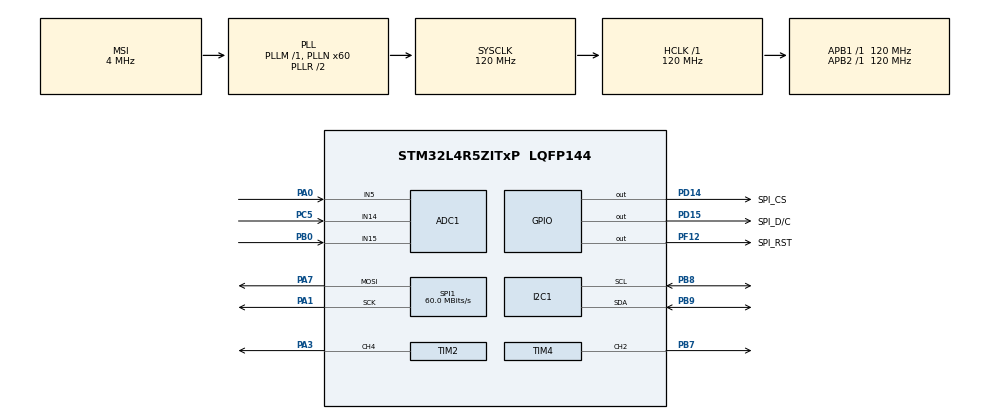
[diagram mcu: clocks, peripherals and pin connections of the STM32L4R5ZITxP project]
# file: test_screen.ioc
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ADC1.Channel-3\#ChannelRegularConversion=ADC_CHANNEL_5
ADC1.Channel-4\#ChannelRegularConversion=ADC_CHANNEL_14
ADC1.Channel-5\#ChannelRegularConversion=ADC_CHANNEL_14
ADC1.ClockPrescaler=ADC_CLOCK_ASYNC_DIV32
ADC1.NbrOfConversion=3
ADC1.NbrOfConversionFlag=1
ADC1.OffsetNumber-3\#ChannelRegularConversion=ADC_OFFSET_NONE
ADC1.OffsetNumber-4\#ChannelRegularConversion=ADC_OFFSET_NONE
ADC1.OffsetNumber-5\#ChannelRegularConversion=ADC_OFFSET_NONE
ADC1.Rank-3\#ChannelRegularConversion=1
ADC1.Rank-4\#ChannelRegularConversion=2
ADC1.Rank-5\#ChannelRegularConversion=3
ADC1.SamplingTime-3\#ChannelRegularConversion=ADC_SAMPLETIME_640CYCLES_5
ADC1.SamplingTime-4\#ChannelRegularConversion=ADC_SAMPLETIME_2CYCLES_5
ADC1.SamplingTime-5\#ChannelRegularConversion=ADC_SAMPLETIME_2CYCLES_5
ADC1.master=1
Dma.ADC1.0.Direction=DMA_PERIPH_TO_MEMORY
Dma.ADC1.0.EventEnable=DISABLE
Dma.ADC1.0.Instance=DMA1_Channel1
Dma.ADC1.0.MemDataAlignment=DMA_MDATAALIGN_WORD
Dma.ADC1.0.MemInc=DMA_MINC_ENABLE
Dma.ADC1.0.Mode=DMA_CIRCULAR
Dma.ADC1.0.PeriphDataAlignment=DMA_PDATAALIGN_HALFWORD
Dma.ADC1.0.PeriphInc=DMA_PINC_DISABLE
Dma.ADC1.0.Polarity=HAL_DMAMUX_REQUEST_GEN_RISING
Dma.ADC1.0.Priority=DMA_PRIORITY_LOW
Dma.ADC1.0.RequestNumber=1
Dma.ADC1.0.SignalID=NONE
Dma.ADC1.0.SyncEnable=DISABLE
Dma.ADC1.0.SyncPolarity=HAL_DMAMUX_SYNC_NO_EVENT
Dma.ADC1.0.SyncRequestNumber=1
Dma.ADC1.0.SyncSignalID=NONE
Dma.Request0=ADC1
Dma.Request1=SPI1_TX
Dma.SPI1_TX.1.Direction=DMA_MEMORY_TO_PERIPH
Dma.SPI1_TX.1.EventEnable=DISABLE
Dma.SPI1_TX.1.Instance=DMA1_Channel2
Dma.SPI1_TX.1.MemDataAlignment=DMA_MDATAALIGN_BYTE
Dma.SPI1_TX.1.MemInc=DMA_MINC_ENABLE
Dma.SPI1_TX.1.Mode=DMA_NORMAL
Dma.SPI1_TX.1.PeriphDataAlignment=DMA_PDATAALIGN_BYTE
Dma.SPI1_TX.1.PeriphInc=DMA_PINC_DISABLE
Dma.SPI1_TX.1.Polarity=HAL_DMAMUX_REQUEST_GEN_RISING
Dma.SPI1_TX.1.Priority=DMA_PRIORITY_LOW
Dma.SPI1_TX.1.RequestNumber=1
Dma.SPI1_TX.1.SignalID=NONE
Dma.SPI1_TX.1.SyncEnable=DISABLE
Dma.SPI1_TX.1.SyncPolarity=HAL_DMAMUX_SYNC_NO_EVENT
Dma.SPI1_TX.1.SyncRequestNumber=1
Dma.SPI1_TX.1.SyncSignalID=NONE
I2C1.Timing=0x307075B1
Mcu.Family=STM32L4
Mcu.Name=STM32L4R5ZITxP
Mcu.Package=LQFP144
NVIC.DMA1_Channel1_IRQn=true\:0\:0\:false\:false\:true\:false\:true\:true
NVIC.DMA1_Channel2_IRQn=true\:0\:0\:false\:false\:true\:false\:true\:true
NVIC.PriorityGroup=NVIC_PRIORITYGROUP_4
PA0.Signal=ADCx_IN5
PA1.Mode=TX_Only_Simplex_Unidirect_Master
PA1.Signal=SPI1_SCK
PA13\ (JTMS/SWDIO).Mode=Serial_Wire
PA13\ (JTMS/SWDIO).Signal=SYS_JTMS-SWDIO
PA14\ (JTCK/SWCLK).Mode=Serial_Wire
PA14\ (JTCK/SWCLK).Signal=SYS_JTCK-SWCLK
PA3.Signal=S_TIM2_CH4
PA7.Mode=TX_Only_Simplex_Unidirect_Master
PA7.Signal=SPI1_MOSI
PB0.Signal=ADCx_IN15
PB7.Signal=S_TIM4_CH2
PB8.Mode=I2C
PB8.Signal=I2C1_SCL
PB9.Mode=I2C
PB9.Signal=I2C1_SDA
PC5.Signal=ADCx_IN14
PD14.GPIO_Label=SPI_CS
PD14.Signal=GPIO_Output
PD15.GPIO_Label=SPI_D/C
PD15.Signal=GPIO_Output
PF12.GPIO_Label=SPI_RST
PF12.Signal=GPIO_Output
PH0-OSC_IN\ (PH0).Mode=HSE-External-Oscillator
PH0-OSC_IN\ (PH0).Signal=RCC_OSC_IN
PH1-OSC_OUT\ (PH1).Mode=HSE-External-Oscillator
PH1-OSC_OUT\ (PH1).Signal=RCC_OSC_OUT
ProjectManager.HeapSize=0x200
ProjectManager.StackSize=0x400
ProjectManager.TargetToolchain=STM32CubeIDE
RCC.ADCFreq_Value=32000000
RCC.AHBFreq_Value=120000000
RCC.APB1Freq_Value=120000000
RCC.APB1TimFreq_Value=120000000
RCC.APB2Freq_Value=120000000
RCC.APB2TimFreq_Value=120000000
RCC.CortexFreq_Value=120000000
RCC.HCLKFreq_Value=120000000
RCC.HSE_VALUE=8000000
RCC.HSI48_VALUE=48000000
RCC.HSI_VALUE=16000000
RCC.LSE_VALUE=32768
RCC.MSI_VALUE=4000000
RCC.PLLN=60
RCC.PLLSAI1N=16
RCC.SYSCLKFreq_VALUE=120000000
RCC.SYSCLKSource=RCC_SYSCLKSOURCE_PLLCLK
RCC.USBFreq_Value=32000000
RCC.VCOOutputFreq_Value=240000000
SH.ADCx_IN14.0=ADC1_IN14,IN14-Single-Ended
SH.ADCx_IN15.0=ADC1_IN15,IN15-Single-Ended
SH.ADCx_IN5.0=ADC1_IN5,IN5-Single-Ended
SH.S_TIM2_CH4.0=TIM2_CH4,PWM Generation4 CH4
SH.S_TIM4_CH2.0=TIM4_CH2,PWM Generation2 CH2
SPI1.BaudRatePrescaler=SPI_BAUDRATEPRESCALER_2
SPI1.CRCCalculation=SPI_CRCCALCULATION_DISABLE
SPI1.CalculateBaudRate=60.0 MBits/s
SPI1.DataSize=SPI_DATASIZE_8BIT
SPI1.Direction=SPI_DIRECTION_2LINES
SPI1.Mode=SPI_MODE_MASTER
SPI1.VirtualType=VM_MASTER
TIM2.Channel-PWM\ Generation4\ CH4=TIM_CHANNEL_4
TIM2.Period=1999
TIM2.Prescaler=3999
TIM4.Channel-PWM\ Generation2\ CH2=TIM_CHANNEL_2
TIM4.OCPolarity_2=TIM_OCPOLARITY_HIGH
TIM4.Period=1999
TIM4.Prescaler=3999
board=NUCLEO-L4R5ZI-P

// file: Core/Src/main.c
/* USER CODE BEGIN Header */
/**
  ******************************************************************************
  * @file           : main.c
  * @brief          : Main program body
  ******************************************************************************
  * @attention
  *
  * Copyright (c) 2023 STMicroelectronics.
  * All rights reserved.
  *
  * This software is licensed under terms that can be found in the LICENSE file
  * in the root directory of this software component.
  * If no LICENSE file comes with this software, it is provided AS-IS.
  *
  ******************************************************************************
  */
/* USER CODE END Header */
#include "main.h"

/* USER CODE BEGIN Includes */
#include "ILI9341_STM32_Driver.h"
#include "ILI9341_GFX.h"
#include "my_touch.h"
#include <stdio.h>
#include <stdlib.h>
#include "soil.h"
#include "emoji.h"

/* USER CODE END Includes */

/* USER CODE BEGIN PM */
ADC_ChannelConfTypeDef sConfig_read;
/* USER CODE END PM */

ADC_HandleTypeDef hadc1;
DMA_HandleTypeDef hdma_adc1;

I2C_HandleTypeDef hi2c1;

SPI_HandleTypeDef hspi1;
DMA_HandleTypeDef hdma_spi1_tx;

TIM_HandleTypeDef htim2;
TIM_HandleTypeDef htim4;

void SystemClock_Config(void);
static void MX_GPIO_Init(void);
static void MX_DMA_Init(void);
static void MX_ADC1_Init(void);
static void MX_SPI1_Init(void);
static void MX_TIM4_Init(void);
static void MX_I2C1_Init(void);
static void MX_TIM2_Init(void);

/* USER CODE BEGIN 0 */

void info_page(float t, float h, int l, int id){
//	ILI9341_FillScreen(WHITE);
//	ILI9341_SetRotation(SCREEN_HORIZONTAL_2);
//	HAL_Delay(1000);
	static char BufferText[30];
	// Temperature
	sprintf(BufferText, "Temperature : %f F", t*1.8 + 32);
	ILI9341_DrawText(BufferText, FONT4, 90, 50, GREEN, WHITE);
	// Humidity
	sprintf(BufferText, "Humidity : %f %%", h/41.0);
	ILI9341_DrawText(BufferText, FONT4, 90, 80, BLUE, WHITE);
	// Lightness:
	sprintf(BufferText, "Water : enough!");
	ILI9341_DrawText(BufferText, FONT4, 90, 110, BLACK, WHITE);
	// Status
	switch(id){
	case 0:
			sprintf(BufferText, "Status : Very good ");
			break;
	case 1:
			sprintf(BufferText, "Status : Really hot");
			break;
	case 2:
			sprintf(BufferText, "Status : So cold ~~");
			break;
	case 4:
			sprintf(BufferText, "Status : Need water");
			break;
	default:
			sprintf(BufferText, "Status : Sleeping  ");
			break;
	}
	ILI9341_DrawText(BufferText, FONT4, 90, 140, ORANGE, WHITE);
	HAL_Delay(200);
}

void test_begin(){
	ILI9341_SetRotation(SCREEN_HORIZONTAL_2);
	ILI9341_FillScreen(RED);
	ILI9341_DrawText("HELLO WORLD", FONT4, 90, 30, WHITE, BLACK);
	HAL_Delay(500);
	static char BufferText[30];
	for(uint8_t i = 0; i <= 5; i++)
	{
		sprintf(BufferText, "COUNT : %d", i);
		ILI9341_DrawText(BufferText, FONT3, 10, 10, BLACK, WHITE);
		ILI9341_DrawText(BufferText, FONT3, 10, 30, BLUE, WHITE);
		ILI9341_DrawText(BufferText, FONT3, 10, 50, RED, WHITE);
		ILI9341_DrawText(BufferText, FONT3, 10, 70, GREEN, WHITE);
		ILI9341_DrawText(BufferText, FONT3, 10, 90, YELLOW, WHITE);
		ILI9341_DrawText(BufferText, FONT3, 10, 110, PURPLE, WHITE);
		ILI9341_DrawText(BufferText, FONT3, 10, 130, ORANGE, WHITE);
		ILI9341_DrawText(BufferText, FONT3, 10, 150, MAROON, WHITE);
		ILI9341_DrawText(BufferText, FONT3, 10, 170, WHITE, BLACK);
		ILI9341_DrawText(BufferText, FONT3, 10, 190, BLUE, BLACK);
	}
	HAL_Delay(500);
}

int decider(float tem, float hum){
	float tem_low = (65-32)/1.8;
	float tem_high = (75-32) / 1.8;
	float hum_low = 1000;

	if (tem<tem_low)
		return 2;

	if (hum<hum_low)
		return 4;

	if (tem>tem_high)
		return 1;

	return 0;

}

void test_emoji(int id){
	switch(id){
	case 0:
			ILI9341_DrawImage(nice, SCREEN_HORIZONTAL_2);
			break;
	case 1:
			ILI9341_DrawImage(hot, SCREEN_HORIZONTAL_2);
			break;
	case 2:
			ILI9341_DrawImage(cold, SCREEN_HORIZONTAL_2);
			break;
	case 4:
			ILI9341_DrawImage(thirsty, SCREEN_HORIZONTAL_2);
			break;
	default:
			ILI9341_DrawImage(sleep, SCREEN_HORIZONTAL_2);
			break;
	}
	HAL_Delay(100);
}
/* USER CODE END 0 */

int main(void)
{

  /* MCU Configuration--------------------------------------------------------*/

  /* Reset of all peripherals, Initializes the Flash interface and the Systick. */
  HAL_Init();

  /* Configure the system clock */
  SystemClock_Config();

  /* Initialize all configured peripherals */
  MX_GPIO_Init();
  MX_DMA_Init();
  MX_ADC1_Init();
  MX_SPI1_Init();
  MX_TIM4_Init();
  MX_I2C1_Init();
  MX_TIM2_Init();
  /* USER CODE BEGIN 2 */
  ILI9341_Init();
  Touch_Init();

  /* USER CODE END 2 */

  /* Infinite loop */
  /* USER CODE BEGIN WHILE */
//  test_begin();

  int state = 0;
  int new_state = -1;

  // -1 is info page, 1 is emoji
  int scene = 0;
  int new_scene = 1;

  float water_level = 0;
  int cnt = 0;

  while (1)
  	{
    /* USER CODE END WHILE */

    /* USER CODE BEGIN 3 */
  		static float x = 0, y = 0, hum = 0, tem = 0;
  		if (TouchRead(&x, &y, &hum))
  		{
  			x = (x - 395) / 3255 * 320;
  			y = (y - 430) / 3130 * 240;
  			new_scene = -new_scene;
  			if (x<80 && y<60){
  				new_scene = -new_scene;
				pump(1000);
			}
  		}

  		tem = temperature_sensor();
  		hum = 4100 - hum;
  		new_state = decider(tem, hum);

  		if (new_state==4){
  			cnt++;
  		}else{
  			cnt = 0;
  		}
  		if (cnt==180){
  			pump(2000);
  			cnt = 0;
  		}

  		if (new_scene == -1){
  			scene = new_scene;
  		  	info_page(tem, hum, water_level, state);
  		  	HAL_Delay(100);
  		}
  		if (new_state!=state || new_scene!=scene){
  			scene = new_scene;
  			state = new_state;
  			if (scene == 1){
  				test_emoji(state);
  				HAL_Delay(200);
  			}
  		}
//  		if (new_state == 4){
//  			pump(15);
//  		}

  	}
  /* USER CODE END 3 */
}

void SystemClock_Config(void)
{
  RCC_OscInitTypeDef RCC_OscInitStruct = {0};
  RCC_ClkInitTypeDef RCC_ClkInitStruct = {0};

  /** Configure the main internal regulator output voltage
  */
  if (HAL_PWREx_ControlVoltageScaling(PWR_REGULATOR_VOLTAGE_SCALE1_BOOST) != HAL_OK)
  {
    Error_Handler();
  }

  /** Initializes the RCC Oscillators according to the specified parameters
  * in the RCC_OscInitTypeDef structure.
  */
  RCC_OscInitStruct.OscillatorType = RCC_OSCILLATORTYPE_MSI;
  RCC_OscInitStruct.MSIState = RCC_MSI_ON;
  RCC_OscInitStruct.MSICalibrationValue = 0;
  RCC_OscInitStruct.MSIClockRange = RCC_MSIRANGE_6;
  RCC_OscInitStruct.PLL.PLLState = RCC_PLL_ON;
  RCC_OscInitStruct.PLL.PLLSource = RCC_PLLSOURCE_MSI;
  RCC_OscInitStruct.PLL.PLLM = 1;
  RCC_OscInitStruct.PLL.PLLN = 60;
  RCC_OscInitStruct.PLL.PLLP = RCC_PLLP_DIV2;
  RCC_OscInitStruct.PLL.PLLQ = RCC_PLLQ_DIV2;
  RCC_OscInitStruct.PLL.PLLR = RCC_PLLR_DIV2;
  if (HAL_RCC_OscConfig(&RCC_OscInitStruct) != HAL_OK)
  {
    Error_Handler();
  }

  /** Initializes the CPU, AHB and APB buses clocks
  */
  RCC_ClkInitStruct.ClockType = RCC_CLOCKTYPE_HCLK|RCC_CLOCKTYPE_SYSCLK
                              |RCC_CLOCKTYPE_PCLK1|RCC_CLOCKTYPE_PCLK2;
  RCC_ClkInitStruct.SYSCLKSource = RCC_SYSCLKSOURCE_PLLCLK;
  RCC_ClkInitStruct.AHBCLKDivider = RCC_SYSCLK_DIV1;
  RCC_ClkInitStruct.APB1CLKDivider = RCC_HCLK_DIV1;
  RCC_ClkInitStruct.APB2CLKDivider = RCC_HCLK_DIV1;

  if (HAL_RCC_ClockConfig(&RCC_ClkInitStruct, FLASH_LATENCY_5) != HAL_OK)
  {
    Error_Handler();
  }
}

static void MX_ADC1_Init(void)
{

  ADC_ChannelConfTypeDef sConfig = {0};

  /** Common config
  */
  hadc1.Instance = ADC1;
  hadc1.Init.ClockPrescaler = ADC_CLOCK_ASYNC_DIV32;
  hadc1.Init.Resolution = ADC_RESOLUTION_12B;
  hadc1.Init.DataAlign = ADC_DATAALIGN_RIGHT;
  hadc1.Init.ScanConvMode = ADC_SCAN_ENABLE;
  hadc1.Init.EOCSelection = ADC_EOC_SINGLE_CONV;
  hadc1.Init.LowPowerAutoWait = DISABLE;
  hadc1.Init.ContinuousConvMode = DISABLE;
  hadc1.Init.NbrOfConversion = 3;
  hadc1.Init.DiscontinuousConvMode = DISABLE;
  hadc1.Init.ExternalTrigConv = ADC_SOFTWARE_START;
  hadc1.Init.ExternalTrigConvEdge = ADC_EXTERNALTRIGCONVEDGE_NONE;
  hadc1.Init.DMAContinuousRequests = DISABLE;
  hadc1.Init.Overrun = ADC_OVR_DATA_PRESERVED;
  hadc1.Init.OversamplingMode = DISABLE;
  if (HAL_ADC_Init(&hadc1) != HAL_OK)
  {
    Error_Handler();
  }

  /** Configure Regular Channel
  */
  sConfig.Channel = ADC_CHANNEL_5;
  sConfig.Rank = ADC_REGULAR_RANK_1;
  sConfig.SamplingTime = ADC_SAMPLETIME_640CYCLES_5;
  sConfig.SingleDiff = ADC_SINGLE_ENDED;
  sConfig.OffsetNumber = ADC_OFFSET_NONE;
  sConfig.Offset = 0;
  if (HAL_ADC_ConfigChannel(&hadc1, &sConfig) != HAL_OK)
  {
    Error_Handler();
  }

  /** Configure Regular Channel
  */
  sConfig.Channel = ADC_CHANNEL_14;
  sConfig.Rank = ADC_REGULAR_RANK_2;
  sConfig.SamplingTime = ADC_SAMPLETIME_2CYCLES_5;
  if (HAL_ADC_ConfigChannel(&hadc1, &sConfig) != HAL_OK)
  {
    Error_Handler();
  }

  /** Configure Regular Channel
  */
  sConfig.Rank = ADC_REGULAR_RANK_3;
  if (HAL_ADC_ConfigChannel(&hadc1, &sConfig) != HAL_OK)
  {
    Error_Handler();
  }

}

static void MX_I2C1_Init(void)
{

  hi2c1.Instance = I2C1;
  hi2c1.Init.Timing = 0x307075B1;
  hi2c1.Init.OwnAddress1 = 0;
  hi2c1.Init.AddressingMode = I2C_ADDRESSINGMODE_7BIT;
  hi2c1.Init.DualAddressMode = I2C_DUALADDRESS_DISABLE;
  hi2c1.Init.OwnAddress2 = 0;
  hi2c1.Init.OwnAddress2Masks = I2C_OA2_NOMASK;
  hi2c1.Init.GeneralCallMode = I2C_GENERALCALL_DISABLE;
  hi2c1.Init.NoStretchMode = I2C_NOSTRETCH_DISABLE;
  if (HAL_I2C_Init(&hi2c1) != HAL_OK)
  {
    Error_Handler();
  }

  /** Configure Analogue filter
  */
  if (HAL_I2CEx_ConfigAnalogFilter(&hi2c1, I2C_ANALOGFILTER_ENABLE) != HAL_OK)
  {
    Error_Handler();
  }

  /** Configure Digital filter
  */
  if (HAL_I2CEx_ConfigDigitalFilter(&hi2c1, 0) != HAL_OK)
  {
    Error_Handler();
  }

}

static void MX_SPI1_Init(void)
{

  /* SPI1 parameter configuration*/
  hspi1.Instance = SPI1;
  hspi1.Init.Mode = SPI_MODE_MASTER;
  hspi1.Init.Direction = SPI_DIRECTION_2LINES;
  hspi1.Init.DataSize = SPI_DATASIZE_8BIT;
  hspi1.Init.CLKPolarity = SPI_POLARITY_LOW;
  hspi1.Init.CLKPhase = SPI_PHASE_1EDGE;
  hspi1.Init.NSS = SPI_NSS_SOFT;
  hspi1.Init.BaudRatePrescaler = SPI_BAUDRATEPRESCALER_2;
  hspi1.Init.FirstBit = SPI_FIRSTBIT_MSB;
  hspi1.Init.TIMode = SPI_TIMODE_DISABLE;
  hspi1.Init.CRCCalculation = SPI_CRCCALCULATION_DISABLE;
  hspi1.Init.CRCPolynomial = 7;
  hspi1.Init.CRCLength = SPI_CRC_LENGTH_DATASIZE;
  hspi1.Init.NSSPMode = SPI_NSS_PULSE_ENABLE;
  if (HAL_SPI_Init(&hspi1) != HAL_OK)
  {
    Error_Handler();
  }

}

static void MX_TIM2_Init(void)
{

  TIM_MasterConfigTypeDef sMasterConfig = {0};
  TIM_OC_InitTypeDef sConfigOC = {0};

  htim2.Instance = TIM2;
  htim2.Init.Prescaler = 3999;
  htim2.Init.CounterMode = TIM_COUNTERMODE_UP;
  htim2.Init.Period = 1999;
  htim2.Init.ClockDivision = TIM_CLOCKDIVISION_DIV1;
  htim2.Init.AutoReloadPreload = TIM_AUTORELOAD_PRELOAD_DISABLE;
  if (HAL_TIM_PWM_Init(&htim2) != HAL_OK)
  {
    Error_Handler();
  }
  sMasterConfig.MasterOutputTrigger = TIM_TRGO_RESET;
  sMasterConfig.MasterSlaveMode = TIM_MASTERSLAVEMODE_DISABLE;
  if (HAL_TIMEx_MasterConfigSynchronization(&htim2, &sMasterConfig) != HAL_OK)
  {
    Error_Handler();
  }
  sConfigOC.OCMode = TIM_OCMODE_PWM1;
  sConfigOC.Pulse = 0;
  sConfigOC.OCPolarity = TIM_OCPOLARITY_HIGH;
  sConfigOC.OCFastMode = TIM_OCFAST_DISABLE;
  if (HAL_TIM_PWM_ConfigChannel(&htim2, &sConfigOC, TIM_CHANNEL_4) != HAL_OK)
  {
    Error_Handler();
  }
  HAL_TIM_MspPostInit(&htim2);

}

static void MX_TIM4_Init(void)
{

  TIM_MasterConfigTypeDef sMasterConfig = {0};
  TIM_OC_InitTypeDef sConfigOC = {0};

  htim4.Instance = TIM4;
  htim4.Init.Prescaler = 3999;
  htim4.Init.CounterMode = TIM_COUNTERMODE_UP;
  htim4.Init.Period = 1999;
  htim4.Init.ClockDivision = TIM_CLOCKDIVISION_DIV1;
  htim4.Init.AutoReloadPreload = TIM_AUTORELOAD_PRELOAD_DISABLE;
  if (HAL_TIM_PWM_Init(&htim4) != HAL_OK)
  {
    Error_Handler();
  }
  sMasterConfig.MasterOutputTrigger = TIM_TRGO_RESET;
  sMasterConfig.MasterSlaveMode = TIM_MASTERSLAVEMODE_DISABLE;
  if (HAL_TIMEx_MasterConfigSynchronization(&htim4, &sMasterConfig) != HAL_OK)
  {
    Error_Handler();
  }
  sConfigOC.OCMode = TIM_OCMODE_PWM1;
  sConfigOC.Pulse = 0;
  sConfigOC.OCPolarity = TIM_OCPOLARITY_HIGH;
  sConfigOC.OCFastMode = TIM_OCFAST_DISABLE;
  if (HAL_TIM_PWM_ConfigChannel(&htim4, &sConfigOC, TIM_CHANNEL_2) != HAL_OK)
  {
    Error_Handler();
  }
  HAL_TIM_MspPostInit(&htim4);

}

static void MX_DMA_Init(void)
{

  /* DMA controller clock enable */
  __HAL_RCC_DMAMUX1_CLK_ENABLE();
  __HAL_RCC_DMA1_CLK_ENABLE();

  /* DMA interrupt init */
  /* DMA1_Channel1_IRQn interrupt configuration */
  HAL_NVIC_SetPriority(DMA1_Channel1_IRQn, 0, 0);
  HAL_NVIC_EnableIRQ(DMA1_Channel1_IRQn);
  /* DMA1_Channel2_IRQn interrupt configuration */
  HAL_NVIC_SetPriority(DMA1_Channel2_IRQn, 0, 0);
  HAL_NVIC_EnableIRQ(DMA1_Channel2_IRQn);

}

static void MX_GPIO_Init(void)
{
  GPIO_InitTypeDef GPIO_InitStruct = {0};

  /* GPIO Ports Clock Enable */
  __HAL_RCC_GPIOH_CLK_ENABLE();
  __HAL_RCC_GPIOA_CLK_ENABLE();
  __HAL_RCC_GPIOC_CLK_ENABLE();
  __HAL_RCC_GPIOB_CLK_ENABLE();
  __HAL_RCC_GPIOF_CLK_ENABLE();
  __HAL_RCC_GPIOD_CLK_ENABLE();

  /*Configure GPIO pin Output Level */
  HAL_GPIO_WritePin(SPI_RST_GPIO_Port, SPI_RST_Pin, GPIO_PIN_RESET);

  /*Configure GPIO pin Output Level */
  HAL_GPIO_WritePin(GPIOD, SPI_CS_Pin|SPI_D_C_Pin, GPIO_PIN_RESET);

  /*Configure GPIO pin : SPI_RST_Pin */
  GPIO_InitStruct.Pin = SPI_RST_Pin;
  GPIO_InitStruct.Mode = GPIO_MODE_OUTPUT_PP;
  GPIO_InitStruct.Pull = GPIO_NOPULL;
  GPIO_InitStruct.Speed = GPIO_SPEED_FREQ_LOW;
  HAL_GPIO_Init(SPI_RST_GPIO_Port, &GPIO_InitStruct);

  /*Configure GPIO pins : SPI_CS_Pin SPI_D_C_Pin */
  GPIO_InitStruct.Pin = SPI_CS_Pin|SPI_D_C_Pin;
  GPIO_InitStruct.Mode = GPIO_MODE_OUTPUT_PP;
  GPIO_InitStruct.Pull = GPIO_NOPULL;
  GPIO_InitStruct.Speed = GPIO_SPEED_FREQ_LOW;
  HAL_GPIO_Init(GPIOD, &GPIO_InitStruct);

}

void Error_Handler(void)
{
  __disable_irq();
  while (1)
  {
  }
}
